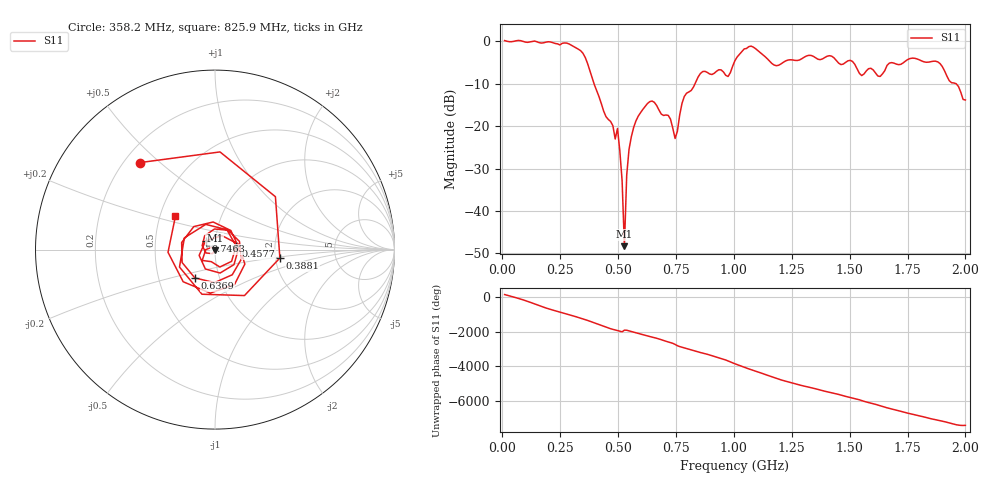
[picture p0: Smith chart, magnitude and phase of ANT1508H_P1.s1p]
!Created with skrf (http://scikit-rf.org).
# Hz S RI R 50.0
!freq ReS11 ImS11
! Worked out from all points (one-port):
!   201 points, 10 MHz to 2 GHz, reference 50 ohm
!   lowest |S11| = -48.3 dB at 527.4 MHz (marker M1), VSWR 1.01, Z = 49.8 - j0.345 ohm
!   |S11| at or under -10 dB: 395.9 MHz to 832.7 MHz (436.7 MHz wide, 71.1 % of centre); 1.958 GHz to end of sweep
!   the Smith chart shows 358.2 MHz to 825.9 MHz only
!   S11 on the Smith chart (normalised r, x): 358.2 MHz: 0.26, +0.43; 388.1 MHz: 2.12, -0.23; 457.8 MHz: 1.27, +0.05; 636.9 MHz: 0.76, -0.25; 746.3 MHz: 0.90, +0.09; 825.9 MHz: 0.60, +0.24
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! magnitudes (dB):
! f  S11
! 10 MHz  0.1
! 258.8 MHz  -0.5
! 358.2 MHz  -3.9
! 388.1 MHz  -8.8
! 457.8 MHz  -18.4
! 487.6 MHz  -23.1
! 497.6 MHz  -20.6
! 507.5 MHz  -25.8
! 517.5 MHz  -32.9
! 527.4 MHz  -48.3
! 537.4 MHz  -31.6
! 547.3 MHz  -25.5
! 577.1 MHz  -18.8
! 636.9 MHz  -14.3
! 716.5 MHz  -17.5
! 746.3 MHz  -22.9
! 756.2 MHz  -21.2
! 786.1 MHz  -13.0
! 825.9 MHz  -10.8
! 975.1 MHz  -8.3
! 1.005 GHz  -4.6
! 1.075 GHz  -1.2
! 1.254 GHz  -4.4
! 1.502 GHz  -4.5
! 1.632 GHz  -8.3
! 1.751 GHz  -4.3
! 1.881 GHz  -4.9
! 2 GHz  -13.9
